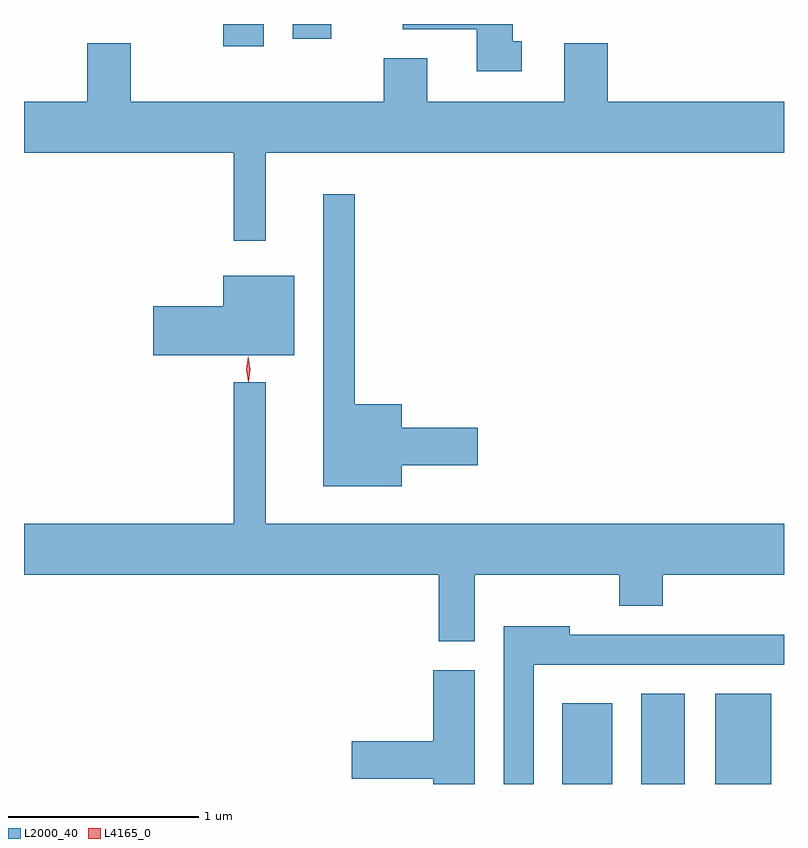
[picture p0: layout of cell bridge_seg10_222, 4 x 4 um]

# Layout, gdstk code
import gdstk
lib = gdstk.Library(unit=1e-6, precision=1e-09)
def R(c, l, rs):  # rectangles x0, y0, x1, y1
    for r in rs: c.add(gdstk.rectangle(r[:2], r[2:], *l))
def P(c, l, *ps):  # polygons
    for p in ps: c.add(gdstk.Polygon(p, *l))
L2000_40 = (2000, 40)
L4165_0 = (4165, 0)

bridge_seg10_222 = lib.new_cell('bridge_seg10_222')
R(bridge_seg10_222, L2000_40, [(1799.571,2086.174,1799.834,2086.599), (1799.986,2086.174,1800.214,2086.649), (1800.376,2086.174,1800.669,2086.649), (1797.786,2090.056,1797.999,2090.174), (1798.151,2090.096,1798.354,2090.174)])
P(bridge_seg10_222, L2000_40, [(1799.358,2090.084),(1799.309,2090.084),(1799.309,2090.174),(1798.731,2090.174),(1798.731,2090.146),(1799.121,2090.146),(1799.121,2089.926),(1799.358,2089.926)],
  [(1797.841,2089.033),(1798.009,2089.033),(1798.009,2089.496),(1800.737,2089.496),(1800.737,2089.764),(1799.809,2089.764),(1799.809,2090.074),(1799.581,2090.074),(1799.581,2089.764),(1798.859,2089.764),(1798.859,2089.994),(1798.631,2089.994),(1798.631,2089.764),(1797.299,2089.764),(1797.299,2090.074),(1797.071,2090.074),(1797.071,2089.764),(1796.737,2089.764),(1796.737,2089.496),(1797.841,2089.496)],
  [(1798.724,2087.851),(1799.124,2087.851),(1799.124,2088.049),(1798.724,2088.049),(1798.724,2088.174),(1798.479,2088.174),(1798.479,2089.278),(1798.311,2089.278),(1798.311,2087.741),(1798.724,2087.741)],
  [(1798.159,2088.849),(1797.786,2088.849),(1797.786,2088.689),(1797.416,2088.689),(1797.416,2088.431),(1798.159,2088.431)],
  [(1799.109,2087.276),(1799.871,2087.276),(1799.871,2087.111),(1800.099,2087.111),(1800.099,2087.276),(1800.737,2087.276),(1800.737,2087.544),(1798.009,2087.544),(1798.009,2088.288),(1797.841,2088.288),(1797.841,2087.544),(1796.737,2087.544),(1796.737,2087.276),(1798.921,2087.276),(1798.921,2086.926),(1799.109,2086.926)],
  [(1799.419,2086.801),(1800.737,2086.801),(1800.737,2086.959),(1799.609,2086.959),(1799.609,2087.004),(1799.261,2087.004),(1799.261,2086.174),(1799.419,2086.174)],
  [(1799.109,2086.774),(1798.891,2086.774),(1798.891,2086.399),(1798.461,2086.399),(1798.461,2086.201),(1798.891,2086.201),(1798.891,2086.174),(1799.109,2086.174)])
P(bridge_seg10_222, L4165_0, [(1797.918,2088.29),(1797.908,2088.358),(1797.917,2088.425),(1797.918,2088.426),(1797.918,2088.425),(1797.928,2088.358),(1797.919,2088.29),(1797.919,2088.29)],
  [(1797.919,2088.293),(1797.918,2088.294),(1797.908,2088.356),(1797.917,2088.419),(1797.917,2088.42),(1797.918,2088.419),(1797.928,2088.356),(1797.919,2088.294)])

lib.write_gds('bridge_seg10_222.gds')
